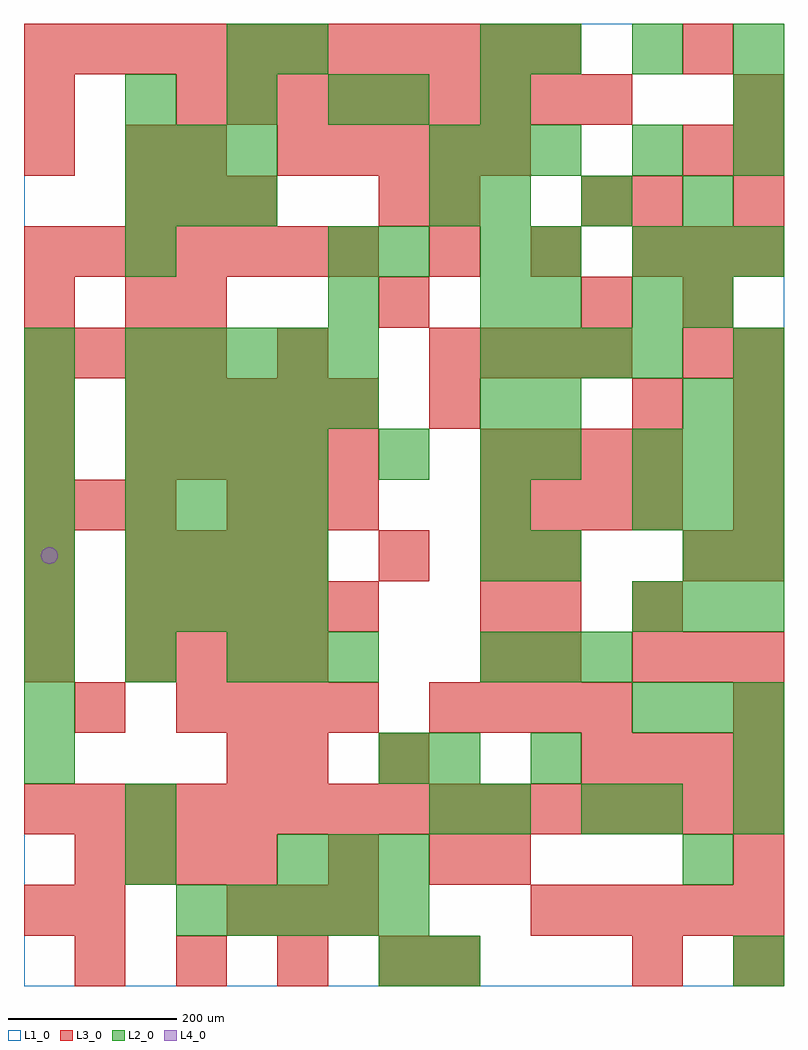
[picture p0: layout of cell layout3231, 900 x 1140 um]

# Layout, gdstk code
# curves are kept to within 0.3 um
import gdstk
lib = gdstk.Library(unit=1e-6, precision=1e-09)
def R(c, l, rs):  # rectangles x0, y0, x1, y1
    for r in rs: c.add(gdstk.rectangle(r[:2], r[2:], *l))
def A(c, l, x, y, w, h, nx, ny, dx, dy):  # array of equal rectangles
    R(c, l, [(x+i*dx, y+j*dy, x+i*dx+w, y+j*dy+h) for i in range(nx) for j in range(ny)])
def P(c, l, *ps):  # polygons
    for p in ps: c.add(gdstk.Polygon(p, *l))
L1_0 = (1, 0)
L2_0 = (2, 0)
L3_0 = (3, 0)
L4_0 = (4, 0)

layout3231 = lib.new_cell('layout3231')
R(layout3231, L1_0, [(0,0,900,1140)])
A(layout3231, L2_0, 180, 60, 60, 60, 5, 1, 60, 0)
A(layout3231, L2_0, 300, 120, 60, 60, 3, 1, 60, 0)
A(layout3231, L2_0, 720, 300, 60, 60, 3, 3, 60, 120)
A(layout3231, L2_0, 0, 360, 60, 60, 3, 1, 120, 0)
A(layout3231, L2_0, 540, 360, 60, 60, 3, 1, 60, 0)
A(layout3231, L2_0, 0, 420, 60, 60, 1, 6, 0, 60)
A(layout3231, L2_0, 120, 420, 60, 60, 4, 4, 60, 60)
A(layout3231, L2_0, 540, 480, 60, 60, 1, 4, 0, 60)
A(layout3231, L2_0, 720, 600, 60, 60, 3, 2, 60, 240)
A(layout3231, L2_0, 120, 660, 60, 60, 5, 2, 60, 60)
A(layout3231, L2_0, 540, 720, 60, 60, 4, 1, 60, 0)
A(layout3231, L2_0, 120, 900, 60, 60, 3, 2, 60, 60)
A(layout3231, L2_0, 540, 900, 60, 60, 3, 1, 120, 0)
A(layout3231, L2_0, 480, 960, 60, 60, 3, 1, 60, 0)
A(layout3231, L2_0, 120, 1020, 60, 60, 3, 1, 120, 0)
A(layout3231, L2_0, 600, 1080, 60, 60, 3, 1, 120, 0)
R(layout3231, L2_0, [(420,0,480,60), (480,0,540,60), (840,0,900,60), (120,120,180,180), (780,120,840,180), (120,180,180,240), (480,180,540,240), (540,180,600,240), (660,180,720,240), (720,180,780,240), (840,180,900,240), (0,240,60,300), (420,240,480,300), (480,240,540,300), (600,240,660,300), (840,240,900,300), (0,300,60,360), (300,360,360,420), (360,360,420,420), (600,480,660,540), (780,480,840,540), (840,480,900,540), (420,600,480,660), (600,600,660,660), (600,660,660,720), (780,660,840,720), (840,660,900,720), (840,720,900,780), (360,780,420,840), (540,780,600,840), (600,780,660,840), (720,780,780,840), (780,780,840,840), (120,840,180,900), (360,840,420,900), (420,840,480,900), (540,840,600,900), (600,840,660,900), (480,900,540,960), (720,960,780,1020), (840,960,900,1020), (420,1020,480,1080), (540,1020,600,1080), (840,1020,900,1080), (240,1080,300,1140), (300,1080,360,1140), (540,1080,600,1140)])
A(layout3231, L3_0, 60, 0, 60, 60, 4, 1, 120, 0)
A(layout3231, L3_0, 240, 60, 60, 60, 3, 2, 60, 480)
A(layout3231, L3_0, 600, 60, 60, 60, 5, 1, 60, 0)
A(layout3231, L3_0, 60, 120, 60, 60, 4, 1, 60, 0)
A(layout3231, L3_0, 840, 120, 60, 60, 1, 3, 0, 180)
A(layout3231, L3_0, 0, 180, 60, 60, 15, 1, 60, 0)
A(layout3231, L3_0, 660, 240, 60, 60, 4, 1, 60, 0)
A(layout3231, L3_0, 180, 300, 60, 60, 4, 1, 60, 0)
A(layout3231, L3_0, 480, 300, 60, 60, 4, 2, 60, 420)
A(layout3231, L3_0, 0, 360, 60, 60, 1, 3, 0, 60)
A(layout3231, L3_0, 120, 360, 60, 60, 4, 2, 60, 120)
A(layout3231, L3_0, 540, 360, 60, 60, 1, 3, 0, 60)
A(layout3231, L3_0, 600, 360, 60, 60, 1, 3, 0, 60)
A(layout3231, L3_0, 720, 360, 60, 60, 3, 1, 60, 0)
A(layout3231, L3_0, 120, 420, 60, 60, 5, 2, 60, 180)
A(layout3231, L3_0, 720, 420, 60, 60, 1, 3, 0, 240)
A(layout3231, L3_0, 0, 540, 60, 60, 3, 1, 60, 0)
A(layout3231, L3_0, 540, 540, 60, 60, 4, 2, 60, 60)
A(layout3231, L3_0, 840, 540, 60, 60, 1, 4, 0, 60)
A(layout3231, L3_0, 120, 660, 60, 60, 5, 1, 60, 0)
A(layout3231, L3_0, 0, 720, 60, 60, 4, 1, 60, 0)
A(layout3231, L3_0, 780, 720, 60, 60, 1, 3, 0, 60)
A(layout3231, L3_0, 180, 780, 60, 60, 3, 1, 240, 0)
A(layout3231, L3_0, 0, 840, 60, 60, 7, 1, 60, 0)
A(layout3231, L3_0, 480, 840, 60, 60, 3, 1, 120, 0)
A(layout3231, L3_0, 840, 840, 60, 60, 1, 4, 0, 60)
A(layout3231, L3_0, 120, 900, 60, 60, 3, 1, 60, 0)
A(layout3231, L3_0, 300, 960, 60, 60, 5, 1, 60, 0)
A(layout3231, L3_0, 180, 1020, 60, 60, 9, 1, 60, 0)
A(layout3231, L3_0, 0, 1080, 60, 60, 11, 1, 60, 0)
R(layout3231, L3_0, [(480,0,540,60), (720,0,780,60), (840,0,900,60), (0,60,60,120), (60,60,120,120), (360,120,420,180), (480,120,540,180), (540,120,600,180), (240,240,300,300), (300,240,360,300), (420,240,480,300), (60,300,120,360), (420,480,480,540), (780,480,840,540), (0,600,60,660), (0,660,60,720), (480,660,540,720), (300,720,360,780), (0,780,60,840), (120,780,180,840), (420,900,480,960), (480,900,540,960), (660,900,720,960), (0,960,60,1020), (120,960,180,1020), (180,960,240,1020), (780,960,840,1020), (0,1020,60,1080), (780,1080,840,1140)])
P(layout3231, L4_0, [(40,510),(39.239,513.827),(37.071,517.071),(33.827,519.239),(30,520),(26.173,519.239),(22.929,517.071),(20.761,513.827),(20,510),(20.761,506.173),(22.929,502.929),(26.173,500.761),(30,500),(33.827,500.761),(37.071,502.929),(39.239,506.173)])

lib.write_gds('layout3231.gds')
